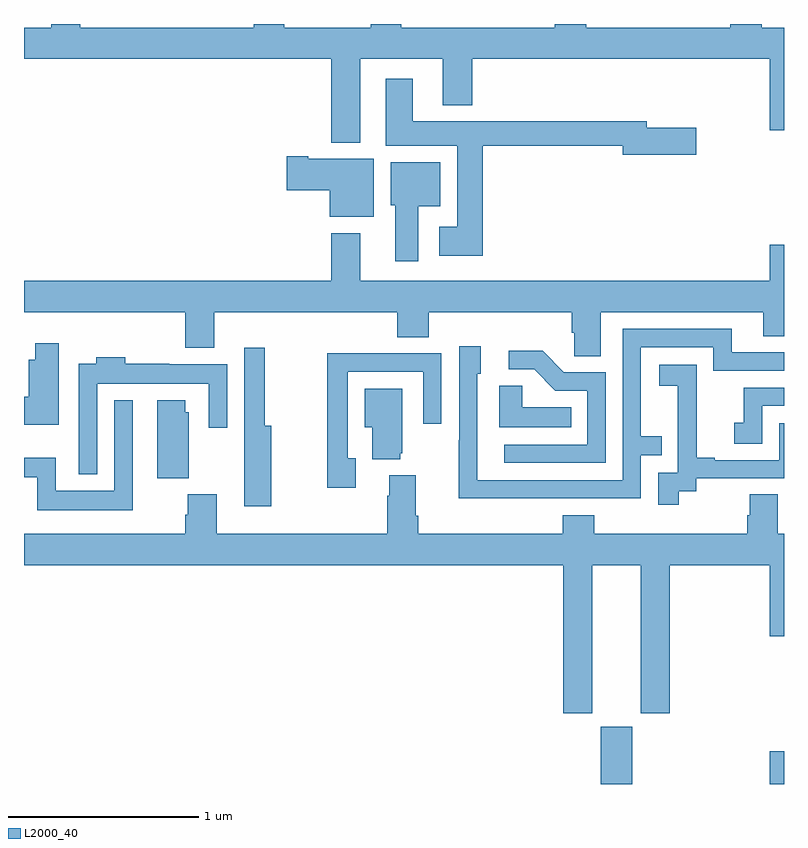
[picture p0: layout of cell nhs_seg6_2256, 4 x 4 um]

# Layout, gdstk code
import gdstk
lib = gdstk.Library(unit=1e-6, precision=1e-09)
def R(c, l, rs):  # rectangles x0, y0, x1, y1
    for r in rs: c.add(gdstk.rectangle(r[:2], r[2:], *l))
def P(c, l, *ps):  # polygons
    for p in ps: c.add(gdstk.Polygon(p, *l))
L2000_40 = (2000, 40)

nhs_seg6_2256 = lib.new_cell('nhs_seg6_2256')
R(nhs_seg6_2256, L2000_40, [(248.036,963.5,248.2,963.801), (248.924,963.5,249,963.673)])
P(nhs_seg6_2256, L2000_40, [(246.769,967.316),(247.205,967.316),(247.205,967.073),(247.358,967.073),(247.358,967.316),(248.924,967.316),(248.924,966.942),(249,966.942),(249,967.48),(248.882,967.48),(248.882,967.5),(248.717,967.5),(248.717,967.48),(247.958,967.48),(247.958,967.5),(247.793,967.5),(247.793,967.48),(246.986,967.48),(246.986,967.5),(246.826,967.5),(246.826,967.48),(246.369,967.48),(246.369,967.5),(246.209,967.5),(246.209,967.48),(245.297,967.48),(245.297,967.5),(245.144,967.5),(245.144,967.48),(245,967.48),(245,967.316),(246.617,967.316),(246.617,966.875),(246.769,966.875)],
  [(247.415,966.859),(248.15,966.859),(248.15,966.812),(248.539,966.812),(248.539,966.954),(248.278,966.954),(248.278,966.988),(247.045,966.988),(247.045,967.213),(246.905,967.213),(246.905,966.86),(247.28,966.86),(247.28,966.433),(247.185,966.433),(247.185,966.281),(247.415,966.281)],
  [(246.841,966.79),(246.496,966.79),(246.496,966.803),(246.384,966.803),(246.384,966.625),(246.608,966.625),(246.608,966.485),(246.841,966.485)],
  [(247.075,966.542),(247.192,966.542),(247.192,966.772),(246.929,966.772),(246.929,966.546),(246.953,966.546),(246.953,966.252),(247.075,966.252)],
  [(248.035,965.984),(248.891,965.984),(248.891,965.857),(249,965.857),(249,966.337),(248.924,966.337),(248.924,966.148),(246.769,966.148),(246.769,966.4),(246.617,966.4),(246.617,966.148),(245,966.148),(245,965.984),(245.849,965.984),(245.849,965.795),(246.001,965.795),(246.001,965.984),(246.965,965.984),(246.965,965.851),(247.13,965.851),(247.13,965.984),(247.883,965.984),(247.883,965.875),(247.896,965.875),(247.896,965.752),(248.035,965.752)],
  [(247.751,965.004),(248.247,965.004),(248.247,965.229),(248.357,965.229),(248.357,965.33),(248.247,965.33),(248.247,965.799),(248.628,965.799),(248.628,965.676),(249,965.676),(249,965.772),(248.725,965.772),(248.725,965.895),(248.151,965.895),(248.151,965.1),(247.386,965.1),(247.386,965.658),(247.405,965.658),(247.405,965.803),(247.29,965.803),(247.29,965.309),(247.288,965.309),(247.288,965.003),(247.751,965.003)],
  [(245.182,965.821),(245.06,965.821),(245.06,965.734),(245.024,965.734),(245.024,965.538),(245,965.538),(245,965.39),(245.182,965.39)],
  [(246.3,965.386),(246.268,965.386),(246.268,965.797),(246.159,965.797),(246.159,965.282),(246.158,965.282),(246.158,964.962),(246.3,964.962)],
  [(248.061,965.667),(247.842,965.667),(247.729,965.78),(247.551,965.78),(247.551,965.682),(247.685,965.682),(247.796,965.571),(247.965,965.571),(247.965,965.286),(247.527,965.286),(247.527,965.19),(248.061,965.19)],
  [(246.745,965.214),(246.705,965.214),(246.705,965.67),(247.101,965.67),(247.101,965.397),(247.197,965.397),(247.197,965.766),(246.881,965.766),(246.881,965.768),(246.597,965.768),(246.597,965.058),(246.745,965.058)],
  [(245.385,965.606),(245.973,965.606),(245.973,965.376),(246.069,965.376),(246.069,965.71),(245.765,965.71),(245.765,965.713),(245.534,965.713),(245.534,965.746),(245.381,965.746),(245.381,965.713),(245.289,965.713),(245.289,965.129),(245.385,965.129)],
  [(248.446,965.041),(248.538,965.041),(248.538,965.109),(249,965.109),(249,965.4),(248.976,965.4),(248.976,965.205),(248.635,965.205),(248.635,965.218),(248.54,965.218),(248.54,965.501),(248.541,965.501),(248.541,965.707),(248.343,965.707),(248.343,965.597),(248.441,965.597),(248.441,965.369),(248.442,965.369),(248.442,965.139),(248.337,965.139),(248.337,964.971),(248.446,964.971)],
  [(247.88,965.482),(247.623,965.482),(247.623,965.597),(247.502,965.597),(247.502,965.378),(247.88,965.378)],
  [(248.886,965.49),(249,965.49),(249,965.586),(248.788,965.586),(248.788,965.401),(248.739,965.401),(248.739,965.292),(248.886,965.292)],
  [(246.98,965.241),(246.991,965.241),(246.991,965.581),(246.794,965.581),(246.794,965.378),(246.833,965.378),(246.833,965.21),(246.98,965.21)],
  [(245.572,965.521),(245.475,965.521),(245.475,965.044),(245.166,965.044),(245.166,965.218),(245,965.218),(245,965.114),(245.069,965.114),(245.069,964.94),(245.572,964.94)],
  [(245.866,965.457),(245.848,965.457),(245.848,965.521),(245.702,965.521),(245.702,965.11),(245.866,965.11)],
  [(247.99,964.652),(248.246,964.652),(248.246,963.873),(248.399,963.873),(248.399,964.652),(248.924,964.652),(248.924,964.278),(249,964.278),(249,964.816),(248.967,964.816),(248.967,965.024),(248.819,965.024),(248.819,964.914),(248.807,964.914),(248.807,964.816),(248,964.816),(248,964.915),(247.835,964.915),(247.835,964.816),(247.076,964.816),(247.076,964.912),(247.063,964.912),(247.063,965.125),(246.923,965.125),(246.923,965.018),(246.911,965.018),(246.911,964.816),(246.014,964.816),(246.014,965.025),(245.861,965.025),(245.861,964.916),(245.849,964.916),(245.849,964.816),(245,964.816),(245,964.652),(247.838,964.652),(247.838,963.873),(247.99,963.873)])

lib.write_gds('nhs_seg6_2256.gds')
